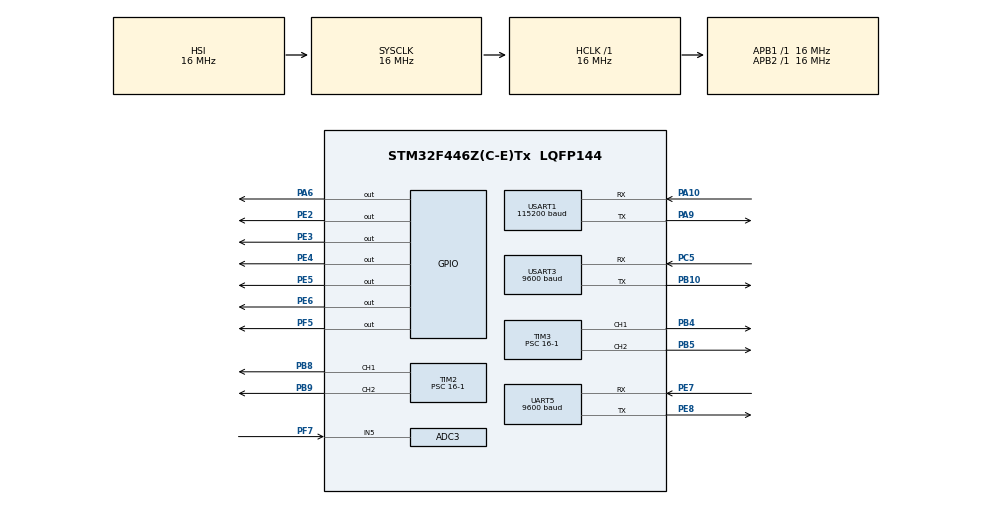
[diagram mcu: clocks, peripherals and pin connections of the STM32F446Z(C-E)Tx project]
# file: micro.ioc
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ADC3.Channel-0\#ChannelRegularConversion=ADC_CHANNEL_5
ADC3.NbrOfConversionFlag=1
ADC3.Rank-0\#ChannelRegularConversion=1
ADC3.SamplingTime-0\#ChannelRegularConversion=ADC_SAMPLETIME_3CYCLES
Mcu.Family=STM32F4
Mcu.Name=STM32F446Z(C-E)Tx
Mcu.Package=LQFP144
NVIC.PriorityGroup=NVIC_PRIORITYGROUP_4
NVIC.TIM4_IRQn=true\:0\:0\:false\:false\:true\:true\:true
NVIC.USART3_IRQn=true\:0\:0\:false\:false\:true\:true\:true
PA10.Mode=Asynchronous
PA10.Signal=USART1_RX
PA6.Signal=GPIO_Output
PA9.Mode=Asynchronous
PA9.Signal=USART1_TX
PB10.Mode=Asynchronous
PB10.Signal=USART3_TX
PB4.Signal=S_TIM3_CH1
PB5.Signal=S_TIM3_CH2
PB8.Signal=S_TIM2_CH1_ETR
PB9.Signal=S_TIM2_CH2
PC5.Mode=Asynchronous
PC5.Signal=USART3_RX
PE2.Signal=GPIO_Output
PE3.Signal=GPIO_Output
PE4.Signal=GPIO_Output
PE5.Signal=GPIO_Output
PE6.Signal=GPIO_Output
PE7.Mode=Asynchronous
PE7.Signal=UART5_RX
PE8.Mode=Asynchronous
PE8.Signal=UART5_TX
PF5.Signal=GPIO_Output
PF7.Mode=IN5
PF7.Signal=ADC3_IN5
ProjectManager.HeapSize=0x200
ProjectManager.StackSize=0x400
ProjectManager.TargetToolchain=STM32CubeIDE
RCC.AHBFreq_Value=16000000
RCC.APB1Freq_Value=16000000
RCC.APB1TimFreq_Value=16000000
RCC.APB2Freq_Value=16000000
RCC.APB2TimFreq_Value=16000000
RCC.CortexFreq_Value=16000000
RCC.HCLKFreq_Value=16000000
RCC.SYSCLKFreq_VALUE=16000000
RCC.USBFreq_Value=96000000
RCC.VCOOutputFreq_Value=192000000
SH.S_TIM2_CH1_ETR.0=TIM2_CH1,PWM Generation1 CH1
SH.S_TIM2_CH2.0=TIM2_CH2,PWM Generation2 CH2
SH.S_TIM3_CH1.0=TIM3_CH1,PWM Generation1 CH1
SH.S_TIM3_CH2.0=TIM3_CH2,PWM Generation2 CH2
TIM2.Channel-PWM\ Generation1\ CH1=TIM_CHANNEL_1
TIM2.Channel-PWM\ Generation2\ CH2=TIM_CHANNEL_2
TIM2.Period=10000-1
TIM2.Prescaler=16-1
TIM3.Channel-PWM\ Generation1\ CH1=TIM_CHANNEL_1
TIM3.Channel-PWM\ Generation2\ CH2=TIM_CHANNEL_2
TIM3.Period=10000-1
TIM3.Prescaler=16-1
TIM4.Period=10000-1
TIM4.Prescaler=1600-1
UART5.BaudRate=9600
UART5.VirtualMode=Asynchronous
USART1.BaudRate=115200
USART1.VirtualMode=VM_ASYNC
USART3.BaudRate=9600
USART3.VirtualMode=VM_ASYNC
VP_TIM4_VS_ClockSourceINT.Mode=Internal
board=custom

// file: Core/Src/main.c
/* USER CODE BEGIN Header */
/**
  ******************************************************************************
  * @file           : main.c
  * @brief          : Main program body
  ******************************************************************************
  * @attention
  *
  * <h2><center>&copy; Copyright (c) 2021 STMicroelectronics.
  * All rights reserved.</center></h2>
  *
  * This software component is licensed by ST under BSD 3-Clause license,
  * the "License"; You may not use this file except in compliance with the
  * License. You may obtain a copy of the License at:
  *                        opensource.org/licenses/BSD-3-Clause
  *
  ******************************************************************************
  */
/* USER CODE END Header */
#include "main.h"

/* USER CODE BEGIN Includes */
#include "myLibrary.h"
/* USER CODE END Includes */

ADC_HandleTypeDef hadc3;

TIM_HandleTypeDef htim2;
TIM_HandleTypeDef htim3;
TIM_HandleTypeDef htim4;

UART_HandleTypeDef huart5;
UART_HandleTypeDef huart1;
UART_HandleTypeDef huart3;

void SystemClock_Config(void);
static void MX_GPIO_Init(void);
static void MX_UART5_Init(void);
static void MX_USART3_UART_Init(void);
static void MX_ADC3_Init(void);
static void MX_USART1_UART_Init(void);
static void MX_TIM2_Init(void);
static void MX_TIM3_Init(void);
static void MX_TIM4_Init(void);

int main(void)
{
  /* USER CODE BEGIN 1 */
	resetTime = 10;
  /* USER CODE END 1 */

  /* MCU Configuration--------------------------------------------------------*/

  /* Reset of all peripherals, Initializes the Flash interface and the Systick. */
  HAL_Init();

  /* Configure the system clock */
  SystemClock_Config();

  /* Initialize all configured peripherals */
  MX_GPIO_Init();
  MX_UART5_Init();
  MX_USART3_UART_Init();
  MX_ADC3_Init();
  MX_USART1_UART_Init();
  MX_TIM2_Init();
  MX_TIM3_Init();
  MX_TIM4_Init();
  /* USER CODE BEGIN 2 */
  __HAL_UART_ENABLE_IT(wifi_uart, UART_IT_RXNE);
  ESP_RESET();
  HAL_Delay(1000);
  HAL_UART_Transmit(pc_uart, buffer, strlen(buffer), 1000);
  ESP_Clear_Buffer();
  ESP_Nodemcu_Init();
  HAL_TIM_Base_Start_IT(&htim4);
  HAL_TIM_PWM_Start(&htim2, TIM_CHANNEL_1);
  HAL_TIM_PWM_Start(&htim2, TIM_CHANNEL_2);
  HAL_TIM_PWM_Start(&htim3, TIM_CHANNEL_1);
  HAL_TIM_PWM_Start(&htim3, TIM_CHANNEL_2);
  TIM2->CCR1 = 0;
  TIM2->CCR2 = 0;
  TIM3->CCR1 = 0;
  TIM3->CCR2 = 0;
//	ESP_Server_Init();
//	HAL_TIM_Base_Start_IT(&htim3);

  /* USER CODE END 2 */

  /* Infinite loop */
  /* USER CODE BEGIN WHILE */
  while (1)
  {
	  if(messageHandlerFlag)
	{
	  messageHandlerFlag = 0;
	  netTimeout = 0;
	  messageHandler();
	}
	BMS_update();
    /* USER CODE END WHILE */

  }
}

void SystemClock_Config(void)
{
  RCC_OscInitTypeDef RCC_OscInitStruct = {0};
  RCC_ClkInitTypeDef RCC_ClkInitStruct = {0};

  /** Configure the main internal regulator output voltage
  */
  __HAL_RCC_PWR_CLK_ENABLE();
  __HAL_PWR_VOLTAGESCALING_CONFIG(PWR_REGULATOR_VOLTAGE_SCALE3);
  /** Initializes the RCC Oscillators according to the specified parameters
  * in the RCC_OscInitTypeDef structure.
  */
  RCC_OscInitStruct.OscillatorType = RCC_OSCILLATORTYPE_HSI;
  RCC_OscInitStruct.HSIState = RCC_HSI_ON;
  RCC_OscInitStruct.HSICalibrationValue = RCC_HSICALIBRATION_DEFAULT;
  RCC_OscInitStruct.PLL.PLLState = RCC_PLL_NONE;
  if (HAL_RCC_OscConfig(&RCC_OscInitStruct) != HAL_OK)
  {
    Error_Handler();
  }
  /** Initializes the CPU, AHB and APB buses clocks
  */
  RCC_ClkInitStruct.ClockType = RCC_CLOCKTYPE_HCLK|RCC_CLOCKTYPE_SYSCLK
                              |RCC_CLOCKTYPE_PCLK1|RCC_CLOCKTYPE_PCLK2;
  RCC_ClkInitStruct.SYSCLKSource = RCC_SYSCLKSOURCE_HSI;
  RCC_ClkInitStruct.AHBCLKDivider = RCC_SYSCLK_DIV1;
  RCC_ClkInitStruct.APB1CLKDivider = RCC_HCLK_DIV1;
  RCC_ClkInitStruct.APB2CLKDivider = RCC_HCLK_DIV1;

  if (HAL_RCC_ClockConfig(&RCC_ClkInitStruct, FLASH_LATENCY_0) != HAL_OK)
  {
    Error_Handler();
  }
}

static void MX_ADC3_Init(void)
{

  ADC_ChannelConfTypeDef sConfig = {0};

  /** Configure the global features of the ADC (Clock, Resolution, Data Alignment and number of conversion)
  */
  hadc3.Instance = ADC3;
  hadc3.Init.ClockPrescaler = ADC_CLOCK_SYNC_PCLK_DIV2;
  hadc3.Init.Resolution = ADC_RESOLUTION_12B;
  hadc3.Init.ScanConvMode = DISABLE;
  hadc3.Init.ContinuousConvMode = DISABLE;
  hadc3.Init.DiscontinuousConvMode = DISABLE;
  hadc3.Init.ExternalTrigConvEdge = ADC_EXTERNALTRIGCONVEDGE_NONE;
  hadc3.Init.ExternalTrigConv = ADC_SOFTWARE_START;
  hadc3.Init.DataAlign = ADC_DATAALIGN_RIGHT;
  hadc3.Init.NbrOfConversion = 1;
  hadc3.Init.DMAContinuousRequests = DISABLE;
  hadc3.Init.EOCSelection = ADC_EOC_SINGLE_CONV;
  if (HAL_ADC_Init(&hadc3) != HAL_OK)
  {
    Error_Handler();
  }
  /** Configure for the selected ADC regular channel its corresponding rank in the sequencer and its sample time.
  */
  sConfig.Channel = ADC_CHANNEL_5;
  sConfig.Rank = 1;
  sConfig.SamplingTime = ADC_SAMPLETIME_3CYCLES;
  if (HAL_ADC_ConfigChannel(&hadc3, &sConfig) != HAL_OK)
  {
    Error_Handler();
  }

}

static void MX_TIM2_Init(void)
{

  TIM_MasterConfigTypeDef sMasterConfig = {0};
  TIM_OC_InitTypeDef sConfigOC = {0};

  htim2.Instance = TIM2;
  htim2.Init.Prescaler = 16-1;
  htim2.Init.CounterMode = TIM_COUNTERMODE_UP;
  htim2.Init.Period = 10000-1;
  htim2.Init.ClockDivision = TIM_CLOCKDIVISION_DIV1;
  htim2.Init.AutoReloadPreload = TIM_AUTORELOAD_PRELOAD_DISABLE;
  if (HAL_TIM_PWM_Init(&htim2) != HAL_OK)
  {
    Error_Handler();
  }
  sMasterConfig.MasterOutputTrigger = TIM_TRGO_RESET;
  sMasterConfig.MasterSlaveMode = TIM_MASTERSLAVEMODE_DISABLE;
  if (HAL_TIMEx_MasterConfigSynchronization(&htim2, &sMasterConfig) != HAL_OK)
  {
    Error_Handler();
  }
  sConfigOC.OCMode = TIM_OCMODE_PWM1;
  sConfigOC.Pulse = 0;
  sConfigOC.OCPolarity = TIM_OCPOLARITY_HIGH;
  sConfigOC.OCFastMode = TIM_OCFAST_DISABLE;
  if (HAL_TIM_PWM_ConfigChannel(&htim2, &sConfigOC, TIM_CHANNEL_1) != HAL_OK)
  {
    Error_Handler();
  }
  if (HAL_TIM_PWM_ConfigChannel(&htim2, &sConfigOC, TIM_CHANNEL_2) != HAL_OK)
  {
    Error_Handler();
  }
  HAL_TIM_MspPostInit(&htim2);

}

static void MX_TIM3_Init(void)
{

  TIM_MasterConfigTypeDef sMasterConfig = {0};
  TIM_OC_InitTypeDef sConfigOC = {0};

  htim3.Instance = TIM3;
  htim3.Init.Prescaler = 16-1;
  htim3.Init.CounterMode = TIM_COUNTERMODE_UP;
  htim3.Init.Period = 10000-1;
  htim3.Init.ClockDivision = TIM_CLOCKDIVISION_DIV1;
  htim3.Init.AutoReloadPreload = TIM_AUTORELOAD_PRELOAD_DISABLE;
  if (HAL_TIM_PWM_Init(&htim3) != HAL_OK)
  {
    Error_Handler();
  }
  sMasterConfig.MasterOutputTrigger = TIM_TRGO_RESET;
  sMasterConfig.MasterSlaveMode = TIM_MASTERSLAVEMODE_DISABLE;
  if (HAL_TIMEx_MasterConfigSynchronization(&htim3, &sMasterConfig) != HAL_OK)
  {
    Error_Handler();
  }
  sConfigOC.OCMode = TIM_OCMODE_PWM1;
  sConfigOC.Pulse = 0;
  sConfigOC.OCPolarity = TIM_OCPOLARITY_HIGH;
  sConfigOC.OCFastMode = TIM_OCFAST_DISABLE;
  if (HAL_TIM_PWM_ConfigChannel(&htim3, &sConfigOC, TIM_CHANNEL_1) != HAL_OK)
  {
    Error_Handler();
  }
  if (HAL_TIM_PWM_ConfigChannel(&htim3, &sConfigOC, TIM_CHANNEL_2) != HAL_OK)
  {
    Error_Handler();
  }
  HAL_TIM_MspPostInit(&htim3);

}

static void MX_TIM4_Init(void)
{

  TIM_ClockConfigTypeDef sClockSourceConfig = {0};
  TIM_MasterConfigTypeDef sMasterConfig = {0};

  htim4.Instance = TIM4;
  htim4.Init.Prescaler = 1600-1;
  htim4.Init.CounterMode = TIM_COUNTERMODE_UP;
  htim4.Init.Period = 10000-1;
  htim4.Init.ClockDivision = TIM_CLOCKDIVISION_DIV1;
  htim4.Init.AutoReloadPreload = TIM_AUTORELOAD_PRELOAD_DISABLE;
  if (HAL_TIM_Base_Init(&htim4) != HAL_OK)
  {
    Error_Handler();
  }
  sClockSourceConfig.ClockSource = TIM_CLOCKSOURCE_INTERNAL;
  if (HAL_TIM_ConfigClockSource(&htim4, &sClockSourceConfig) != HAL_OK)
  {
    Error_Handler();
  }
  sMasterConfig.MasterOutputTrigger = TIM_TRGO_RESET;
  sMasterConfig.MasterSlaveMode = TIM_MASTERSLAVEMODE_DISABLE;
  if (HAL_TIMEx_MasterConfigSynchronization(&htim4, &sMasterConfig) != HAL_OK)
  {
    Error_Handler();
  }

}

static void MX_UART5_Init(void)
{

  huart5.Instance = UART5;
  huart5.Init.BaudRate = 9600;
  huart5.Init.WordLength = UART_WORDLENGTH_8B;
  huart5.Init.StopBits = UART_STOPBITS_1;
  huart5.Init.Parity = UART_PARITY_NONE;
  huart5.Init.Mode = UART_MODE_TX_RX;
  huart5.Init.HwFlowCtl = UART_HWCONTROL_NONE;
  huart5.Init.OverSampling = UART_OVERSAMPLING_16;
  if (HAL_UART_Init(&huart5) != HAL_OK)
  {
    Error_Handler();
  }

}

static void MX_USART1_UART_Init(void)
{

  huart1.Instance = USART1;
  huart1.Init.BaudRate = 115200;
  huart1.Init.WordLength = UART_WORDLENGTH_8B;
  huart1.Init.StopBits = UART_STOPBITS_1;
  huart1.Init.Parity = UART_PARITY_NONE;
  huart1.Init.Mode = UART_MODE_TX_RX;
  huart1.Init.HwFlowCtl = UART_HWCONTROL_NONE;
  huart1.Init.OverSampling = UART_OVERSAMPLING_16;
  if (HAL_UART_Init(&huart1) != HAL_OK)
  {
    Error_Handler();
  }

}

static void MX_USART3_UART_Init(void)
{

  huart3.Instance = USART3;
  huart3.Init.BaudRate = 9600;
  huart3.Init.WordLength = UART_WORDLENGTH_8B;
  huart3.Init.StopBits = UART_STOPBITS_1;
  huart3.Init.Parity = UART_PARITY_NONE;
  huart3.Init.Mode = UART_MODE_TX_RX;
  huart3.Init.HwFlowCtl = UART_HWCONTROL_NONE;
  huart3.Init.OverSampling = UART_OVERSAMPLING_16;
  if (HAL_UART_Init(&huart3) != HAL_OK)
  {
    Error_Handler();
  }

}

static void MX_GPIO_Init(void)
{
  GPIO_InitTypeDef GPIO_InitStruct = {0};

  /* GPIO Ports Clock Enable */
  __HAL_RCC_GPIOE_CLK_ENABLE();
  __HAL_RCC_GPIOF_CLK_ENABLE();
  __HAL_RCC_GPIOA_CLK_ENABLE();
  __HAL_RCC_GPIOC_CLK_ENABLE();
  __HAL_RCC_GPIOB_CLK_ENABLE();

  /*Configure GPIO pin Output Level */
  HAL_GPIO_WritePin(GPIOE, GPIO_PIN_2|GPIO_PIN_3|GPIO_PIN_4|GPIO_PIN_5
                          |GPIO_PIN_6, GPIO_PIN_RESET);

  /*Configure GPIO pin Output Level */
  HAL_GPIO_WritePin(GPIOF, GPIO_PIN_5, GPIO_PIN_RESET);

  /*Configure GPIO pin Output Level */
  HAL_GPIO_WritePin(GPIOA, GPIO_PIN_6, GPIO_PIN_RESET);

  /*Configure GPIO pins : PE2 PE3 PE4 PE5
                           PE6 */
  GPIO_InitStruct.Pin = GPIO_PIN_2|GPIO_PIN_3|GPIO_PIN_4|GPIO_PIN_5
                          |GPIO_PIN_6;
  GPIO_InitStruct.Mode = GPIO_MODE_OUTPUT_PP;
  GPIO_InitStruct.Pull = GPIO_NOPULL;
  GPIO_InitStruct.Speed = GPIO_SPEED_FREQ_LOW;
  HAL_GPIO_Init(GPIOE, &GPIO_InitStruct);

  /*Configure GPIO pin : PF5 */
  GPIO_InitStruct.Pin = GPIO_PIN_5;
  GPIO_InitStruct.Mode = GPIO_MODE_OUTPUT_PP;
  GPIO_InitStruct.Pull = GPIO_NOPULL;
  GPIO_InitStruct.Speed = GPIO_SPEED_FREQ_LOW;
  HAL_GPIO_Init(GPIOF, &GPIO_InitStruct);

  /*Configure GPIO pin : PA6 */
  GPIO_InitStruct.Pin = GPIO_PIN_6;
  GPIO_InitStruct.Mode = GPIO_MODE_OUTPUT_PP;
  GPIO_InitStruct.Pull = GPIO_NOPULL;
  GPIO_InitStruct.Speed = GPIO_SPEED_FREQ_LOW;
  HAL_GPIO_Init(GPIOA, &GPIO_InitStruct);

}

/* USER CODE BEGIN 4 */
void BMS_update(void) {
    float raw;
    if(HAL_ADC_Start(&hadc3) == HAL_OK) {
        if (HAL_ADC_PollForConversion(&hadc3, 1000000) == HAL_OK)
        {
            raw = HAL_ADC_GetValue(&hadc3);
        }
    }
    float Vbatt2 = (raw / 4096.0) * 3.35345006 * 6;
    percent = (int)(((Vbatt2-12) / 3.0) * 100);
    //12.4, 12.8, 13.2, 13.6, 14
    if (Vbatt2 > 14)
        HAL_GPIO_WritePin(GPIOE, GPIO_PIN_2, 1);
    else
        HAL_GPIO_WritePin(GPIOE, GPIO_PIN_2, 0);

    if (Vbatt2 > 13.6)
        HAL_GPIO_WritePin(GPIOE, GPIO_PIN_3, 1);
    else
        HAL_GPIO_WritePin(GPIOE, GPIO_PIN_3, 0);

    if (Vbatt2 > 13.2)
        HAL_GPIO_WritePin(GPIOE, GPIO_PIN_4, 1);
    else
        HAL_GPIO_WritePin(GPIOE, GPIO_PIN_4, 0);

    if (Vbatt2 > 12.8)
        HAL_GPIO_WritePin(GPIOE, GPIO_PIN_5, 1);
    else
        HAL_GPIO_WritePin(GPIOE, GPIO_PIN_5, 0);

    if (Vbatt2 > 12.4)
        HAL_GPIO_WritePin(GPIOE, GPIO_PIN_6, 1);
    else
        HAL_GPIO_WritePin(GPIOE, GPIO_PIN_6, 0);
}
/* USER CODE END 4 */

void Error_Handler(void)
{
  __disable_irq();
  while (1)
  {
  }
}

/************************ (C) COPYRIGHT STMicroelectronics *****END OF FILE****/
